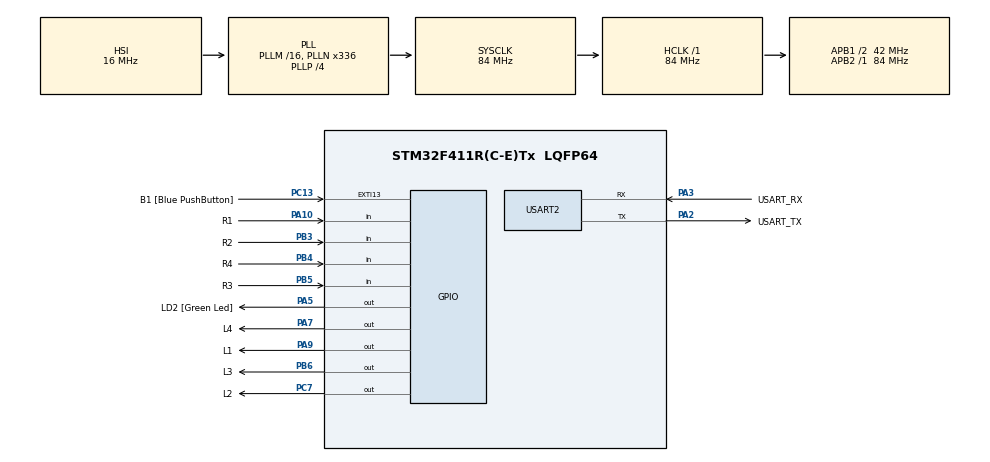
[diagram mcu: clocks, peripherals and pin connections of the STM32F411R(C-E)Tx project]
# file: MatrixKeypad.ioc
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Mcu.Family=STM32F4
Mcu.Name=STM32F411R(C-E)Tx
Mcu.Package=LQFP64
NVIC.PriorityGroup=NVIC_PRIORITYGROUP_0
PA10.GPIO_Label=R1
PA10.GPIO_Mode=GPIO_MODE_INPUT
PA10.GPIO_PuPd=GPIO_PULLUP
PA10.Signal=GPIO_Input
PA13.GPIO_Label=TMS
PA13.Mode=Serial_Wire
PA13.Signal=SYS_JTMS-SWDIO
PA14.GPIO_Label=TCK
PA14.Mode=Serial_Wire
PA14.Signal=SYS_JTCK-SWCLK
PA2.GPIO_Label=USART_TX
PA2.Mode=Asynchronous
PA2.Signal=USART2_TX
PA3.GPIO_Label=USART_RX
PA3.Mode=Asynchronous
PA3.Signal=USART2_RX
PA5.GPIO_Label=LD2 [Green Led]
PA5.Signal=GPIO_Output
PA7.GPIO_Label=L4
PA7.GPIO_ModeDefaultOutputPP=GPIO_MODE_OUTPUT_OD
PA7.GPIO_PuPd=GPIO_NOPULL
PA7.PinState=GPIO_PIN_RESET
PA7.Signal=GPIO_Output
PA9.GPIO_Label=L1
PA9.GPIO_ModeDefaultOutputPP=GPIO_MODE_OUTPUT_OD
PA9.GPIO_PuPd=GPIO_NOPULL
PA9.PinState=GPIO_PIN_RESET
PA9.Signal=GPIO_Output
PB3.GPIO_Label=R2
PB3.GPIO_Mode=GPIO_MODE_INPUT
PB3.GPIO_PuPd=GPIO_PULLUP
PB3.Signal=GPIO_Input
PB4.GPIO_Label=R4
PB4.GPIO_Mode=GPIO_MODE_INPUT
PB4.GPIO_PuPd=GPIO_PULLUP
PB4.Signal=GPIO_Input
PB5.GPIO_Label=R3
PB5.GPIO_Mode=GPIO_MODE_INPUT
PB5.GPIO_PuPd=GPIO_PULLUP
PB5.Signal=GPIO_Input
PB6.GPIO_Label=L3
PB6.GPIO_ModeDefaultOutputPP=GPIO_MODE_OUTPUT_OD
PB6.GPIO_PuPd=GPIO_NOPULL
PB6.PinState=GPIO_PIN_RESET
PB6.Signal=GPIO_Output
PC13-ANTI_TAMP.GPIO_Label=B1 [Blue PushButton]
PC13-ANTI_TAMP.GPIO_ModeDefaultEXTI=GPIO_MODE_IT_FALLING
PC13-ANTI_TAMP.Signal=GPXTI13
PC14-OSC32_IN.Mode=LSE-External-Oscillator
PC14-OSC32_IN.Signal=RCC_OSC32_IN
PC15-OSC32_OUT.Mode=LSE-External-Oscillator
PC15-OSC32_OUT.Signal=RCC_OSC32_OUT
PC7.GPIO_Label=L2
PC7.GPIO_ModeDefaultOutputPP=GPIO_MODE_OUTPUT_OD
PC7.GPIO_PuPd=GPIO_NOPULL
PC7.PinState=GPIO_PIN_RESET
PC7.Signal=GPIO_Output
PH0\ -\ OSC_IN.Mode=HSE-External-Clock-Source
PH0\ -\ OSC_IN.Signal=RCC_OSC_IN
PH1\ -\ OSC_OUT.Mode=HSE-External-Clock-Source
PH1\ -\ OSC_OUT.Signal=RCC_OSC_OUT
ProjectManager.HeapSize=0x200
ProjectManager.StackSize=0x400
ProjectManager.TargetToolchain=STM32CubeIDE
RCC.48MHZClocksFreq_Value=84000000
RCC.AHBFreq_Value=84000000
RCC.APB1CLKDivider=RCC_HCLK_DIV2
RCC.APB1Freq_Value=42000000
RCC.APB1TimFreq_Value=84000000
RCC.APB2Freq_Value=84000000
RCC.APB2TimFreq_Value=84000000
RCC.CortexFreq_Value=84000000
RCC.FLatency-AdvancedSettings=FLASH_LATENCY_2
RCC.HCLKFreq_Value=84000000
RCC.HSE_VALUE=8000000
RCC.HSI_VALUE=16000000
RCC.PLLN=336
RCC.PLLP=RCC_PLLP_DIV4
RCC.SYSCLKFreq_VALUE=84000000
RCC.SYSCLKSource=RCC_SYSCLKSOURCE_PLLCLK
RCC.VCOOutputFreq_Value=336000000
USART2.VirtualMode=VM_ASYNC
board=NUCLEO-F411RE

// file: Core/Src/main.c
/* USER CODE BEGIN Header */
/**
 ******************************************************************************
 * @file           : main.c
 * @brief          : Main program body
 ******************************************************************************
 * @attention
 *
 * Copyright (c) 2022 STMicroelectronics.
 * All rights reserved.
 *
 * This software is licensed under terms that can be found in the LICENSE file
 * in the root directory of this software component.
 * If no LICENSE file comes with this software, it is provided AS-IS.
 *
 ******************************************************************************
 */
/* USER CODE END Header */
#include "main.h"
#include<string.h>

UART_HandleTypeDef huart2;

/* USER CODE BEGIN PV */
uint16_t keypad = 0;
uint8_t numCode = 0;
char inputCode[] = "0";
char code[32];
char correctCode[] = "63340500005";
uint8_t save = 0;
uint8_t lock = 0;
uint8_t ok = 0;
/* USER CODE END PV */

void SystemClock_Config(void);
static void MX_GPIO_Init(void);
static void MX_USART2_UART_Init(void);

int main(void) {

	/* MCU Configuration--------------------------------------------------------*/

	/* Reset of all peripherals, Initializes the Flash interface and the Systick. */
	HAL_Init();

	/* Configure the system clock */
	SystemClock_Config();

	/* Initialize all configured peripherals */
	MX_GPIO_Init();
	MX_USART2_UART_Init();
	/* USER CODE BEGIN 2 */

	void MatrixKeypadRead();
	/* USER CODE END 2 */

	/* Infinite loop */
	/* USER CODE BEGIN WHILE */
	while (1) {
		static uint8_t buttonState = 0;
		MatrixKeypadRead();
		static enum {
			lock, unlock
		} STATE = unlock;
		if (keypad > 0) {
			if (buttonState == 0) {
				if (keypad == (1 << 0)) {
					inputCode[0] = '7';
					strcat(code, inputCode);
					numCode++;
				} else if (keypad == (1 << 1)) {
					inputCode[0] = '8';
					strcat(code, inputCode);
					numCode++;
				} else if (keypad == (1 << 2)) {
					inputCode[0] = '9';
					strcat(code, inputCode);
					numCode++;
				} else if (keypad == (1 << 4)) {
					inputCode[0] = '4';
					strcat(code, inputCode);
					numCode++;
				} else if (keypad == (1 << 5)) {
					inputCode[0] = '5';
					strcat(code, inputCode);
					numCode++;
				} else if (keypad == (1 << 6)) {
					inputCode[0] = '6';
					strcat(code, inputCode);
					numCode++;
				} else if (keypad == (1 << 8)) {
					inputCode[0] = '1';
					strcat(code, inputCode);
					numCode++;
				} else if (keypad == (1 << 9)) {
					inputCode[0] = '2';
					strcat(code, inputCode);
					numCode++;
				} else if (keypad == (1 << 10)) {
					inputCode[0] = '3';
					strcat(code, inputCode);
					numCode++;
				} else if (keypad == (1 << 12)) {
					inputCode[0] = '0';
					strcat(code, inputCode);
					numCode++;
				} else if (keypad == (1 << 3)) {
					for (int i = 0; i < numCode + 1; i++) {
						code[i] = '\0';
					}
					numCode = 0;
				} else if (keypad == (1 << 7)) {
					if (numCode > 0) {
						numCode--;
					}
					code[numCode] = '\0';
				} else if (keypad == (1 << 15)) {
					ok = 1;
				}
				buttonState = 1;
			}
		} else {
			buttonState = 0;
		}
		switch (STATE) {
		case unlock:
			HAL_GPIO_WritePin(GPIOA, GPIO_PIN_5, GPIO_PIN_RESET);
			if (ok) {
				if (save && numCode >= 4) {
					if (strcmp(correctCode, code) == 0) {
						STATE = lock;
					} else {
						for (int i = 0; i < 5; i++) {
							HAL_GPIO_WritePin(GPIOA, GPIO_PIN_5, GPIO_PIN_SET);
							HAL_Delay(100);
							HAL_GPIO_WritePin(GPIOA, GPIO_PIN_5,
									GPIO_PIN_RESET);
							HAL_Delay(100);
						}
					}

				} else if (save == 0) {
					if (numCode >= 4) {
						save = 1;
						strcpy(correctCode, code);
						STATE = lock;
					} else {
						for (int i = 0; i < 5; i++) {
							HAL_GPIO_WritePin(GPIOA, GPIO_PIN_5, GPIO_PIN_SET);
							HAL_Delay(100);
							HAL_GPIO_WritePin(GPIOA, GPIO_PIN_5,
									GPIO_PIN_RESET);
							HAL_Delay(100);
						}
					}
				} else {
					for (int i = 0; i < 5; i++) {
						HAL_GPIO_WritePin(GPIOA, GPIO_PIN_5, GPIO_PIN_SET);
						HAL_Delay(100);
						HAL_GPIO_WritePin(GPIOA, GPIO_PIN_5, GPIO_PIN_RESET);
						HAL_Delay(100);
					}
				}
				for (int i = 0; i < numCode + 1; i++) {
					code[i] = '\0';
				}
				numCode = 0;
			}
			break;
		case lock:
			HAL_GPIO_WritePin(GPIOA, GPIO_PIN_5, GPIO_PIN_SET);
			if (ok) {
				if (numCode >= 4) {
					if (strcmp(correctCode, code) == 0) {
						STATE = unlock;
					} else {
						for (int i = 0; i < 5; i++) {
							HAL_GPIO_WritePin(GPIOA, GPIO_PIN_5, GPIO_PIN_SET);
							HAL_Delay(100);
							HAL_GPIO_WritePin(GPIOA, GPIO_PIN_5,
									GPIO_PIN_RESET);
							HAL_Delay(100);
						}
					}
				} else {
					for (int i = 0; i < 5; i++) {
						HAL_GPIO_WritePin(GPIOA, GPIO_PIN_5, GPIO_PIN_SET);
						HAL_Delay(100);
						HAL_GPIO_WritePin(GPIOA, GPIO_PIN_5, GPIO_PIN_RESET);
						HAL_Delay(100);
					}
				}
				for (int i = 0; i < numCode + 1; i++) {
					code[i] = '\0';
				}
				numCode = 0;
			}
			break;
		}
		ok = 0;
		/* USER CODE END WHILE */

	}
}

void SystemClock_Config(void) {
	RCC_OscInitTypeDef RCC_OscInitStruct = { 0 };
	RCC_ClkInitTypeDef RCC_ClkInitStruct = { 0 };

	/** Configure the main internal regulator output voltage
	 */
	__HAL_RCC_PWR_CLK_ENABLE();
	__HAL_PWR_VOLTAGESCALING_CONFIG(PWR_REGULATOR_VOLTAGE_SCALE1);
	/** Initializes the RCC Oscillators according to the specified parameters
	 * in the RCC_OscInitTypeDef structure.
	 */
	RCC_OscInitStruct.OscillatorType = RCC_OSCILLATORTYPE_HSI;
	RCC_OscInitStruct.HSIState = RCC_HSI_ON;
	RCC_OscInitStruct.HSICalibrationValue = RCC_HSICALIBRATION_DEFAULT;
	RCC_OscInitStruct.PLL.PLLState = RCC_PLL_ON;
	RCC_OscInitStruct.PLL.PLLSource = RCC_PLLSOURCE_HSI;
	RCC_OscInitStruct.PLL.PLLM = 16;
	RCC_OscInitStruct.PLL.PLLN = 336;
	RCC_OscInitStruct.PLL.PLLP = RCC_PLLP_DIV4;
	RCC_OscInitStruct.PLL.PLLQ = 4;
	if (HAL_RCC_OscConfig(&RCC_OscInitStruct) != HAL_OK) {
		Error_Handler();
	}
	/** Initializes the CPU, AHB and APB buses clocks
	 */
	RCC_ClkInitStruct.ClockType = RCC_CLOCKTYPE_HCLK | RCC_CLOCKTYPE_SYSCLK
			| RCC_CLOCKTYPE_PCLK1 | RCC_CLOCKTYPE_PCLK2;
	RCC_ClkInitStruct.SYSCLKSource = RCC_SYSCLKSOURCE_PLLCLK;
	RCC_ClkInitStruct.AHBCLKDivider = RCC_SYSCLK_DIV1;
	RCC_ClkInitStruct.APB1CLKDivider = RCC_HCLK_DIV2;
	RCC_ClkInitStruct.APB2CLKDivider = RCC_HCLK_DIV1;

	if (HAL_RCC_ClockConfig(&RCC_ClkInitStruct, FLASH_LATENCY_2) != HAL_OK) {
		Error_Handler();
	}
}

static void MX_USART2_UART_Init(void) {

	huart2.Instance = USART2;
	huart2.Init.BaudRate = 115200;
	huart2.Init.WordLength = UART_WORDLENGTH_8B;
	huart2.Init.StopBits = UART_STOPBITS_1;
	huart2.Init.Parity = UART_PARITY_NONE;
	huart2.Init.Mode = UART_MODE_TX_RX;
	huart2.Init.HwFlowCtl = UART_HWCONTROL_NONE;
	huart2.Init.OverSampling = UART_OVERSAMPLING_16;
	if (HAL_UART_Init(&huart2) != HAL_OK) {
		Error_Handler();
	}

}

static void MX_GPIO_Init(void) {
	GPIO_InitTypeDef GPIO_InitStruct = { 0 };

	/* GPIO Ports Clock Enable */
	__HAL_RCC_GPIOC_CLK_ENABLE();
	__HAL_RCC_GPIOH_CLK_ENABLE();
	__HAL_RCC_GPIOA_CLK_ENABLE();
	__HAL_RCC_GPIOB_CLK_ENABLE();

	/*Configure GPIO pin Output Level */
	HAL_GPIO_WritePin(GPIOA, LD2_Pin | L4_Pin | L1_Pin, GPIO_PIN_RESET);

	/*Configure GPIO pin Output Level */
	HAL_GPIO_WritePin(L2_GPIO_Port, L2_Pin, GPIO_PIN_RESET);

	/*Configure GPIO pin Output Level */
	HAL_GPIO_WritePin(L3_GPIO_Port, L3_Pin, GPIO_PIN_RESET);

	/*Configure GPIO pin : B1_Pin */
	GPIO_InitStruct.Pin = B1_Pin;
	GPIO_InitStruct.Mode = GPIO_MODE_IT_FALLING;
	GPIO_InitStruct.Pull = GPIO_NOPULL;
	HAL_GPIO_Init(B1_GPIO_Port, &GPIO_InitStruct);

	/*Configure GPIO pin : LD2_Pin */
	GPIO_InitStruct.Pin = LD2_Pin;
	GPIO_InitStruct.Mode = GPIO_MODE_OUTPUT_PP;
	GPIO_InitStruct.Pull = GPIO_NOPULL;
	GPIO_InitStruct.Speed = GPIO_SPEED_FREQ_LOW;
	HAL_GPIO_Init(LD2_GPIO_Port, &GPIO_InitStruct);

	/*Configure GPIO pins : L4_Pin L1_Pin */
	GPIO_InitStruct.Pin = L4_Pin | L1_Pin;
	GPIO_InitStruct.Mode = GPIO_MODE_OUTPUT_OD;
	GPIO_InitStruct.Pull = GPIO_NOPULL;
	GPIO_InitStruct.Speed = GPIO_SPEED_FREQ_LOW;
	HAL_GPIO_Init(GPIOA, &GPIO_InitStruct);

	/*Configure GPIO pin : L2_Pin */
	GPIO_InitStruct.Pin = L2_Pin;
	GPIO_InitStruct.Mode = GPIO_MODE_OUTPUT_OD;
	GPIO_InitStruct.Pull = GPIO_NOPULL;
	GPIO_InitStruct.Speed = GPIO_SPEED_FREQ_LOW;
	HAL_GPIO_Init(L2_GPIO_Port, &GPIO_InitStruct);

	/*Configure GPIO pin : R1_Pin */
	GPIO_InitStruct.Pin = R1_Pin;
	GPIO_InitStruct.Mode = GPIO_MODE_INPUT;
	GPIO_InitStruct.Pull = GPIO_PULLUP;
	HAL_GPIO_Init(R1_GPIO_Port, &GPIO_InitStruct);

	/*Configure GPIO pins : R2_Pin R4_Pin R3_Pin */
	GPIO_InitStruct.Pin = R2_Pin | R4_Pin | R3_Pin;
	GPIO_InitStruct.Mode = GPIO_MODE_INPUT;
	GPIO_InitStruct.Pull = GPIO_PULLUP;
	HAL_GPIO_Init(GPIOB, &GPIO_InitStruct);

	/*Configure GPIO pin : L3_Pin */
	GPIO_InitStruct.Pin = L3_Pin;
	GPIO_InitStruct.Mode = GPIO_MODE_OUTPUT_OD;
	GPIO_InitStruct.Pull = GPIO_NOPULL;
	GPIO_InitStruct.Speed = GPIO_SPEED_FREQ_LOW;
	HAL_GPIO_Init(L3_GPIO_Port, &GPIO_InitStruct);

}

/* USER CODE BEGIN 4 */
GPIO_TypeDef *Rport[] =
		{ R1_GPIO_Port, R2_GPIO_Port, R3_GPIO_Port, R4_GPIO_Port };
uint16_t Rpin[] = { R1_Pin, R2_Pin, R3_Pin, R4_Pin };
GPIO_TypeDef *Lport[] =
		{ L1_GPIO_Port, L2_GPIO_Port, L3_GPIO_Port, L4_GPIO_Port };
uint16_t Lpin[] = { L1_Pin, L2_Pin, L3_Pin, L4_Pin };
void MatrixKeypadRead() {
	static uint32_t timeStamp = 0;
	static uint8_t currentL = 0;
	if (HAL_GetTick() - timeStamp >= 10) {
		timeStamp = HAL_GetTick();
		for (int i = 0; i < 4; i++) {
			if (HAL_GPIO_ReadPin(Rport[i], Rpin[i]) == GPIO_PIN_RESET) {
				keypad |= 1 << (i + (currentL * 4));
			} else {
				keypad &= ~(1 << (i + (currentL * 4)));
			}
		}
		uint8_t nextL = (currentL + 1) % 4;
		HAL_GPIO_WritePin(Lport[currentL], Lpin[currentL], GPIO_PIN_SET);
		HAL_GPIO_WritePin(Lport[nextL], Lpin[nextL], GPIO_PIN_RESET);
		currentL = nextL;
	}
}
/* USER CODE END 4 */

void Error_Handler(void) {
	__disable_irq();
	while (1) {
	}
}
